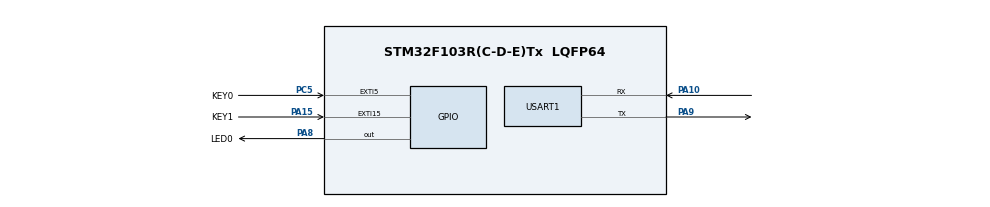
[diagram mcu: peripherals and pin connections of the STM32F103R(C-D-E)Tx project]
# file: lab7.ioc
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Mcu.Family=STM32F1
Mcu.Name=STM32F103R(C-D-E)Tx
Mcu.Package=LQFP64
NVIC.EXTI15_10_IRQn=true\:1\:0\:true\:false\:true\:true\:true
NVIC.EXTI9_5_IRQn=true\:1\:0\:true\:false\:true\:true\:true
NVIC.PriorityGroup=NVIC_PRIORITYGROUP_4
NVIC.USART1_IRQn=true\:0\:0\:false\:false\:true\:true\:true
NVIC.WWDG_IRQn=true\:0\:0\:false\:false\:true\:true\:true
PA10.Mode=Asynchronous
PA10.Signal=USART1_RX
PA15.GPIO_Label=KEY1
PA15.GPIO_PuPd=GPIO_PULLUP
PA15.Signal=GPXTI15
PA8.GPIO_Label=LED0
PA8.Signal=GPIO_Output
PA9.Mode=Asynchronous
PA9.Signal=USART1_TX
PC5.GPIO_Label=KEY0
PC5.GPIO_PuPd=GPIO_PULLUP
PC5.Signal=GPXTI5
PD0-OSC_IN.Mode=HSE-External-Oscillator
PD0-OSC_IN.Signal=RCC_OSC_IN
PD1-OSC_OUT.Mode=HSE-External-Oscillator
PD1-OSC_OUT.Signal=RCC_OSC_OUT
ProjectManager.HeapSize=0x200
ProjectManager.StackSize=0x400
ProjectManager.TargetToolchain=STM32CubeIDE
RCC.APB1Freq_Value=8000000
RCC.APB2Freq_Value=8000000
USART1.VirtualMode=VM_ASYNC
VP_SYS_VS_ND.Mode=No_Debug
VP_WWDG_VS_WWDG.Mode=WWDG_Activate
WWDG.Counter=127
WWDG.EWIMode=WWDG_EWI_ENABLE
WWDG.Window=95
board=custom

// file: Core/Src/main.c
/* USER CODE BEGIN Header */
/**
  ******************************************************************************
  * @file           : main.c
  * @brief          : Main program body
  ******************************************************************************
  * @attention
  *
  * <h2><center>&copy; Copyright (c) 2020 STMicroelectronics.
  * All rights reserved.</center></h2>
  *
  * This software component is licensed by ST under BSD 3-Clause license,
  * the "License"; You may not use this file except in compliance with the
  * License. You may obtain a copy of the License at:
  *                        opensource.org/licenses/BSD-3-Clause
  *
  ******************************************************************************
  */
/* USER CODE END Header */

#include "main.h"

UART_HandleTypeDef huart1;

WWDG_HandleTypeDef hwwdg;

/* USER CODE BEGIN PV */
uint8_t rxBuffer[20];
int restart_flag = 0;

/* USER CODE END PV */

void SystemClock_Config(void);
static void MX_GPIO_Init(void);
static void MX_USART1_UART_Init(void);
static void MX_WWDG_Init(void);

/* USER CODE BEGIN 0 */

void HAL_WWDG_EarlyWakeupCallback(WWDG_HandleTypeDef *hwwdg){
	if (restart_flag == 0) {
		HAL_WWDG_Refresh(hwwdg);
	}
}

void HAL_GPIO_EXTI_Callback(uint16_t GPIO_Pin){
	switch (GPIO_Pin) {
	case KEY1_Pin:
		if (HAL_GPIO_ReadPin(KEY0_GPIO_Port, KEY1_Pin) == GPIO_PIN_RESET) {
			HAL_GPIO_TogglePin(LED0_GPIO_Port, LED0_Pin);
			restart_flag = 1;
		}
		break;
	case KEY0_Pin:
		if (HAL_GPIO_ReadPin(KEY0_GPIO_Port, KEY0_Pin) == GPIO_PIN_RESET) {
			HAL_GPIO_TogglePin(LED0_GPIO_Port, LED0_Pin);
			restart_flag = 1;

		}
		break;
	default:
		break;
	}
}

void HAL_UART_RxCpltCallback(UART_HandleTypeDef *huart) {
	if (huart->Instance == USART1) {
		static unsigned char uRx_Data[1024] = {0};
		static unsigned char uLength = 0;
		if (rxBuffer[0] == '\n') {
			uRx_Data[uLength] = '\n';
			HAL_UART_Transmit(&huart1, uRx_Data, uLength + 1, 0xffff);
			uLength = 0;
		} else {
			uRx_Data[uLength] = rxBuffer[0];
			uLength++;
		}
	}
}

/* USER CODE END 0 */

int main(void)
{

  /* MCU Configuration--------------------------------------------------------*/

  /* Reset of all peripherals, Initializes the Flash interface and the Systick. */
  HAL_Init();

  /* Configure the system clock */
  SystemClock_Config();

  /* Initialize all configured peripherals */
  MX_GPIO_Init();
  MX_USART1_UART_Init();
  MX_WWDG_Init();
  /* USER CODE BEGIN 2 */
  HAL_UART_Receive_IT(&huart1, (uint8_t *)rxBuffer, 1);
  int i = 0;
  HAL_UART_Transmit(&huart1, "Restart\n", 8, HAL_MAX_DELAY);
  /* USER CODE END 2 */

  /* Infinite loop */
  while (1)
  {

    /* USER CODE BEGIN 3 */
	  i++;
	  char msg[1000];
	  sprintf(msg, "%d\r\n", i);
	  HAL_UART_Transmit(&huart1, (uint8_t*)msg, strlen(msg), HAL_MAX_DELAY);
	  HAL_Delay(1000);
  }
  /* USER CODE END 3 */
}

void SystemClock_Config(void)
{
  RCC_OscInitTypeDef RCC_OscInitStruct = {0};
  RCC_ClkInitTypeDef RCC_ClkInitStruct = {0};

  /** Initializes the CPU, AHB and APB busses clocks
  */
  RCC_OscInitStruct.OscillatorType = RCC_OSCILLATORTYPE_HSI;
  RCC_OscInitStruct.HSIState = RCC_HSI_ON;
  RCC_OscInitStruct.HSICalibrationValue = RCC_HSICALIBRATION_DEFAULT;
  RCC_OscInitStruct.PLL.PLLState = RCC_PLL_NONE;
  if (HAL_RCC_OscConfig(&RCC_OscInitStruct) != HAL_OK)
  {
    Error_Handler();
  }
  /** Initializes the CPU, AHB and APB busses clocks
  */
  RCC_ClkInitStruct.ClockType = RCC_CLOCKTYPE_HCLK|RCC_CLOCKTYPE_SYSCLK
                              |RCC_CLOCKTYPE_PCLK1|RCC_CLOCKTYPE_PCLK2;
  RCC_ClkInitStruct.SYSCLKSource = RCC_SYSCLKSOURCE_HSI;
  RCC_ClkInitStruct.AHBCLKDivider = RCC_SYSCLK_DIV1;
  RCC_ClkInitStruct.APB1CLKDivider = RCC_HCLK_DIV1;
  RCC_ClkInitStruct.APB2CLKDivider = RCC_HCLK_DIV1;

  if (HAL_RCC_ClockConfig(&RCC_ClkInitStruct, FLASH_LATENCY_0) != HAL_OK)
  {
    Error_Handler();
  }
}

static void MX_USART1_UART_Init(void)
{

  huart1.Instance = USART1;
  huart1.Init.BaudRate = 115200;
  huart1.Init.WordLength = UART_WORDLENGTH_8B;
  huart1.Init.StopBits = UART_STOPBITS_1;
  huart1.Init.Parity = UART_PARITY_NONE;
  huart1.Init.Mode = UART_MODE_TX_RX;
  huart1.Init.HwFlowCtl = UART_HWCONTROL_NONE;
  huart1.Init.OverSampling = UART_OVERSAMPLING_16;
  if (HAL_UART_Init(&huart1) != HAL_OK)
  {
    Error_Handler();
  }

}

static void MX_WWDG_Init(void)
{

  hwwdg.Instance = WWDG;
  hwwdg.Init.Prescaler = WWDG_PRESCALER_1;
  hwwdg.Init.Window = 95;
  hwwdg.Init.Counter = 127;
  hwwdg.Init.EWIMode = WWDG_EWI_ENABLE;
  if (HAL_WWDG_Init(&hwwdg) != HAL_OK)
  {
    Error_Handler();
  }

}

static void MX_GPIO_Init(void)
{
  GPIO_InitTypeDef GPIO_InitStruct = {0};

  /* GPIO Ports Clock Enable */
  __HAL_RCC_GPIOD_CLK_ENABLE();
  __HAL_RCC_GPIOC_CLK_ENABLE();
  __HAL_RCC_GPIOA_CLK_ENABLE();

  /*Configure GPIO pin Output Level */
  HAL_GPIO_WritePin(LED0_GPIO_Port, LED0_Pin, GPIO_PIN_RESET);

  /*Configure GPIO pin : KEY0_Pin */
  GPIO_InitStruct.Pin = KEY0_Pin;
  GPIO_InitStruct.Mode = GPIO_MODE_IT_RISING;
  GPIO_InitStruct.Pull = GPIO_PULLUP;
  HAL_GPIO_Init(KEY0_GPIO_Port, &GPIO_InitStruct);

  /*Configure GPIO pin : LED0_Pin */
  GPIO_InitStruct.Pin = LED0_Pin;
  GPIO_InitStruct.Mode = GPIO_MODE_OUTPUT_PP;
  GPIO_InitStruct.Pull = GPIO_NOPULL;
  GPIO_InitStruct.Speed = GPIO_SPEED_FREQ_LOW;
  HAL_GPIO_Init(LED0_GPIO_Port, &GPIO_InitStruct);

  /*Configure GPIO pin : KEY1_Pin */
  GPIO_InitStruct.Pin = KEY1_Pin;
  GPIO_InitStruct.Mode = GPIO_MODE_IT_RISING;
  GPIO_InitStruct.Pull = GPIO_PULLUP;
  HAL_GPIO_Init(KEY1_GPIO_Port, &GPIO_InitStruct);

  /* EXTI interrupt init*/
  HAL_NVIC_SetPriority(EXTI9_5_IRQn, 1, 0);
  HAL_NVIC_EnableIRQ(EXTI9_5_IRQn);

  HAL_NVIC_SetPriority(EXTI15_10_IRQn, 1, 0);
  HAL_NVIC_EnableIRQ(EXTI15_10_IRQn);

}

void Error_Handler(void)
{
}

/************************ (C) COPYRIGHT STMicroelectronics *****END OF FILE****/
